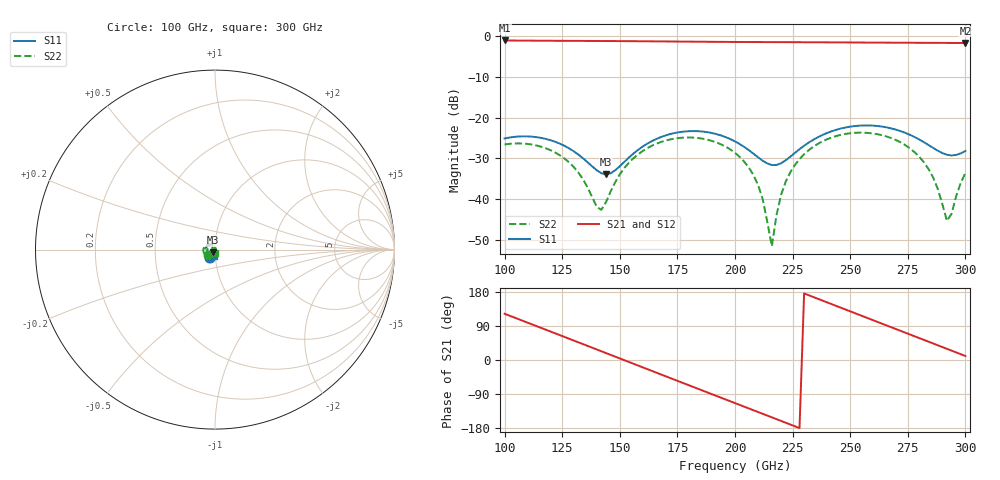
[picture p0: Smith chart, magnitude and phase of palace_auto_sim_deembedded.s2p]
! Created with skrf 1.11.0 (http://scikit-rf.org).
# GHz S DB R 50.0
!freq dBS11 angS11 dBS21 angS21 dBS12 angS12 dBS22 angS22
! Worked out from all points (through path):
!   101 points, 100 GHz to 300 GHz, reference 50 ohm
!   highest |S21| = -1.04 dB at 100 GHz (marker M1); lowest = -1.7 dB at 300 GHz (marker M2)
!   group delay of S21, straight-line fit = 6.55 ps
!   lowest |S11| = -34.0 dB at 144 GHz (marker M3), VSWR 1.04, Z = 48.7 - j1.51 ohm
!   |S11| at or under -10 dB: start of sweep to end of sweep
!   |S22| runs from -51.6 to -23.7 dB; largest |S21 - S12| = 1e-13
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100  -25.13 -117.4  -1.04 122.0  -1.04 122.0  -26.61 -142.6
116  -25.00 -144.2  -1.10 84.4  -1.10 84.4  -27.18 -178.0
126  -26.94 -157.3  -1.13 60.8  -1.13 60.8  -30.06 162.4
134  -29.98 -160.1  -1.15 42.0  -1.15 42.0  -35.13 154.4
140  -32.94 -148.5  -1.17 27.8  -1.17 27.8  -41.95 -178.9
144  -33.95 -129.6  -1.18 18.3  -1.18 18.3  -40.77 -127.1
154  -29.79 -97.3  -1.21 -5.3  -1.21 -5.3  -31.05 -113.7
168  -24.75 -106.3  -1.27 -38.4  -1.27 -38.4  -25.97 -141.1
184  -23.34 -130.5  -1.35 -76.1  -1.35 -76.1  -25.02 -179.0
200  -25.85 -150.8  -1.41 -113.7  -1.41 -113.7  -28.66 140.2
210  -29.74 -147.5  -1.43 -137.2  -1.43 -137.2  -36.53 109.2
212  -30.59 -142.8  -1.44 -141.9  -1.44 -141.9  -39.98 99.2
216  -31.67 -127.7  -1.45 -151.4  -1.45 -151.4  -51.59 1.5
218  -31.65 -118.7  -1.45 -156.1  -1.45 -156.1  -44.00 -57.0
222  -30.49 -103.6  -1.46 -165.5  -1.46 -165.5  -35.77 -82.1
234  -25.44 -94.3  -1.49 166.2  -1.49 166.2  -27.16 -118.1
252  -22.07 -114.7  -1.54 123.7  -1.54 123.7  -23.74 -164.7
268  -22.67 -136.0  -1.59 86.0  -1.59 86.0  -25.08 154.1
284  -26.74 -143.2  -1.62 48.3  -1.62 48.3  -32.64 106.6
288  -28.13 -137.6  -1.63 38.9  -1.63 38.9  -37.50 86.5
292  -29.13 -126.9  -1.65 29.4  -1.65 29.4  -45.37 24.9
300  -28.20 -101.8  -1.67 10.6  -1.67 10.6  -33.59 -86.3
